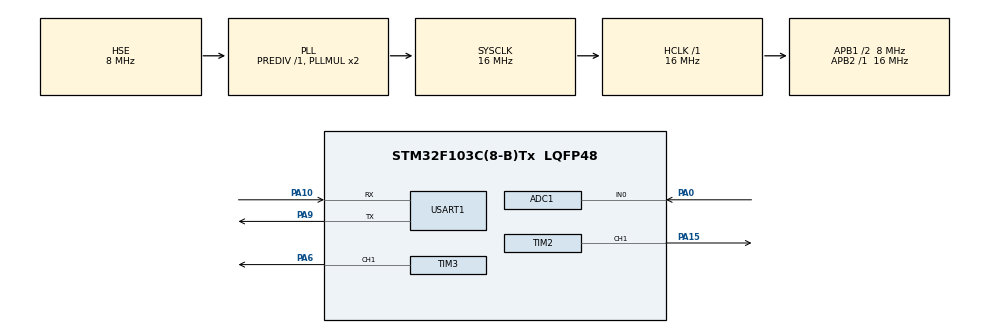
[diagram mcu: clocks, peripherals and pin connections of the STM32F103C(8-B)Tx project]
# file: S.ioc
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ADC1.Channel-0\#ChannelRegularConversion=ADC_CHANNEL_0
ADC1.ContinuousConvMode=ENABLE
ADC1.NbrOfConversion=1
ADC1.NbrOfConversionFlag=1
ADC1.Rank-0\#ChannelRegularConversion=1
ADC1.SamplingTime-0\#ChannelRegularConversion=ADC_SAMPLETIME_1CYCLE_5
ADC1.master=1
Dma.ADC1.0.Direction=DMA_PERIPH_TO_MEMORY
Dma.ADC1.0.Instance=DMA1_Channel1
Dma.ADC1.0.MemDataAlignment=DMA_MDATAALIGN_HALFWORD
Dma.ADC1.0.MemInc=DMA_MINC_ENABLE
Dma.ADC1.0.Mode=DMA_CIRCULAR
Dma.ADC1.0.PeriphDataAlignment=DMA_PDATAALIGN_HALFWORD
Dma.ADC1.0.PeriphInc=DMA_PINC_DISABLE
Dma.ADC1.0.Priority=DMA_PRIORITY_HIGH
Dma.Request0=ADC1
Mcu.Family=STM32F1
Mcu.Name=STM32F103C(8-B)Tx
Mcu.Package=LQFP48
NVIC.ADC1_2_IRQn=true\:0\:0\:false\:false\:true\:true\:true\:true
NVIC.DMA1_Channel1_IRQn=true\:0\:0\:false\:false\:true\:false\:true\:true
NVIC.PriorityGroup=NVIC_PRIORITYGROUP_4
NVIC.TIM2_IRQn=true\:0\:0\:false\:false\:true\:true\:true\:true
PA0-WKUP.Signal=ADCx_IN0
PA10.Mode=Asynchronous
PA10.Signal=USART1_RX
PA15.Signal=S_TIM2_CH1_ETR
PA6.Signal=S_TIM3_CH1
PA9.Mode=Asynchronous
PA9.Signal=USART1_TX
PD0-OSC_IN.Mode=HSE-External-Oscillator
PD0-OSC_IN.Signal=RCC_OSC_IN
PD1-OSC_OUT.Mode=HSE-External-Oscillator
PD1-OSC_OUT.Signal=RCC_OSC_OUT
ProjectManager.HeapSize=0x200
ProjectManager.StackSize=0x400
ProjectManager.TargetToolchain=STM32CubeIDE
RCC.AHBFreq_Value=16000000
RCC.APB1CLKDivider=RCC_HCLK_DIV2
RCC.APB1Freq_Value=8000000
RCC.APB1TimFreq_Value=16000000
RCC.APB2Freq_Value=16000000
RCC.APB2TimFreq_Value=16000000
RCC.HCLKFreq_Value=16000000
RCC.PLLSourceVirtual=RCC_PLLSOURCE_HSE
RCC.SYSCLKFreq_VALUE=16000000
RCC.SYSCLKSource=RCC_SYSCLKSOURCE_PLLCLK
RCC.USBFreq_Value=16000000
SH.ADCx_IN0.0=ADC1_IN0,IN0
SH.S_TIM2_CH1_ETR.0=TIM2_CH1,PWM Generation1 CH1
SH.S_TIM3_CH1.0=TIM3_CH1,PWM Generation1 CH1
TIM2.Channel-PWM\ Generation1\ CH1=TIM_CHANNEL_1
TIM2.Period=999
TIM2.Prescaler=71
TIM2.Pulse-PWM\ Generation1\ CH1=400
TIM3.AutoReloadPreload=TIM_AUTORELOAD_PRELOAD_ENABLE
TIM3.Channel-PWM\ Generation1\ CH1=TIM_CHANNEL_1
TIM3.Period=19999
TIM3.Prescaler=15
TIM3.TIM_MasterSlaveMode=TIM_MASTERSLAVEMODE_DISABLE
USART1.VirtualMode=VM_ASYNC
VP_SYS_VS_ND.Mode=No_Debug
VP_TIM2_VS_ClockSourceINT.Mode=Internal
VP_TIM3_VS_ClockSourceINT.Mode=Internal
board=custom

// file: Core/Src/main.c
/* USER CODE BEGIN Header */
/**
  ******************************************************************************
  * @file           : main.c
  * @brief          : Main program body
  ******************************************************************************
  * @attention
  *
  * Copyright (c) 2026 STMicroelectronics.
  * All rights reserved.
  *
  * This software is licensed under terms that can be found in the LICENSE file
  * in the root directory of this software component.
  * If no LICENSE file comes with this software, it is provided AS-IS.
  *
  ******************************************************************************
  */
/* USER CODE END Header */
#include "main.h"

/* USER CODE BEGIN Includes */
#include <string.h>
#include <stdio.h>
/* USER CODE END Includes */

ADC_HandleTypeDef hadc1;
DMA_HandleTypeDef hdma_adc1;

TIM_HandleTypeDef htim2;
TIM_HandleTypeDef htim3;

UART_HandleTypeDef huart1;

/* USER CODE BEGIN PV */
#define BUF_SIZE 64
uint16_t adc_buf[BUF_SIZE];
volatile uint8_t process_lower = 0;
volatile uint8_t process_upper = 0;
/* USER CODE END PV */

void SystemClock_Config(void);
static void MX_GPIO_Init(void);
static void MX_DMA_Init(void);
static void MX_USART1_UART_Init(void);
static void MX_TIM2_Init(void);
static void MX_TIM3_Init(void);
static void MX_ADC1_Init(void);

int main(void)
{

  /* MCU Configuration--------------------------------------------------------*/

  /* Reset of all peripherals, Initializes the Flash interface and the Systick. */
  HAL_Init();

  /* Configure the system clock */
  SystemClock_Config();

  /* Initialize all configured peripherals */
  MX_GPIO_Init();
  MX_DMA_Init();
  MX_USART1_UART_Init();
  MX_TIM2_Init();
  MX_TIM3_Init();
  MX_ADC1_Init();
  /* USER CODE BEGIN 2 */
  HAL_ADC_Start_DMA(&hadc1, (uint32_t*)adc_buf, BUF_SIZE);
  HAL_TIM_PWM_Start(&htim3, TIM_CHANNEL_1);

  /* USER CODE END 2 */

  /* Infinite loop */
  while (1)
  {

    /* USER CODE BEGIN 3 */
	   if (process_lower) {
	        process_lower = 0;
	        uint32_t sum = 0;
	        for (int i = 0; i < BUF_SIZE/2; i++) sum += adc_buf[i];
	        uint32_t avg = sum / (BUF_SIZE/2);
	        __HAL_TIM_SET_COMPARE(&htim3, TIM_CHANNEL_1, (avg * 1000 / 4095) + 1000);
	    }
	    if (process_upper) {
	        process_upper = 0;
	        uint32_t sum = 0;
	        for (int i = BUF_SIZE/2; i < BUF_SIZE; i++) sum += adc_buf[i];
	        uint32_t avg = sum / (BUF_SIZE/2);
	        __HAL_TIM_SET_COMPARE(&htim3, TIM_CHANNEL_1, (avg * 1000 / 4095) + 1000);
	    }

  }
  /* USER CODE END 3 */
}

void SystemClock_Config(void)
{
  RCC_OscInitTypeDef RCC_OscInitStruct = {0};
  RCC_ClkInitTypeDef RCC_ClkInitStruct = {0};
  RCC_PeriphCLKInitTypeDef PeriphClkInit = {0};

  /** Initializes the RCC Oscillators according to the specified parameters
  * in the RCC_OscInitTypeDef structure.
  */
  RCC_OscInitStruct.OscillatorType = RCC_OSCILLATORTYPE_HSE;
  RCC_OscInitStruct.HSEState = RCC_HSE_ON;
  RCC_OscInitStruct.HSEPredivValue = RCC_HSE_PREDIV_DIV1;
  RCC_OscInitStruct.HSIState = RCC_HSI_ON;
  RCC_OscInitStruct.PLL.PLLState = RCC_PLL_ON;
  RCC_OscInitStruct.PLL.PLLSource = RCC_PLLSOURCE_HSE;
  RCC_OscInitStruct.PLL.PLLMUL = RCC_PLL_MUL2;
  if (HAL_RCC_OscConfig(&RCC_OscInitStruct) != HAL_OK)
  {
    Error_Handler();
  }

  /** Initializes the CPU, AHB and APB buses clocks
  */
  RCC_ClkInitStruct.ClockType = RCC_CLOCKTYPE_HCLK|RCC_CLOCKTYPE_SYSCLK
                              |RCC_CLOCKTYPE_PCLK1|RCC_CLOCKTYPE_PCLK2;
  RCC_ClkInitStruct.SYSCLKSource = RCC_SYSCLKSOURCE_PLLCLK;
  RCC_ClkInitStruct.AHBCLKDivider = RCC_SYSCLK_DIV1;
  RCC_ClkInitStruct.APB1CLKDivider = RCC_HCLK_DIV2;
  RCC_ClkInitStruct.APB2CLKDivider = RCC_HCLK_DIV1;

  if (HAL_RCC_ClockConfig(&RCC_ClkInitStruct, FLASH_LATENCY_0) != HAL_OK)
  {
    Error_Handler();
  }
  PeriphClkInit.PeriphClockSelection = RCC_PERIPHCLK_ADC;
  PeriphClkInit.AdcClockSelection = RCC_ADCPCLK2_DIV2;
  if (HAL_RCCEx_PeriphCLKConfig(&PeriphClkInit) != HAL_OK)
  {
    Error_Handler();
  }
}

static void MX_ADC1_Init(void)
{

  ADC_ChannelConfTypeDef sConfig = {0};

  /** Common config
  */
  hadc1.Instance = ADC1;
  hadc1.Init.ScanConvMode = ADC_SCAN_DISABLE;
  hadc1.Init.ContinuousConvMode = ENABLE;
  hadc1.Init.DiscontinuousConvMode = DISABLE;
  hadc1.Init.ExternalTrigConv = ADC_SOFTWARE_START;
  hadc1.Init.DataAlign = ADC_DATAALIGN_RIGHT;
  hadc1.Init.NbrOfConversion = 1;
  if (HAL_ADC_Init(&hadc1) != HAL_OK)
  {
    Error_Handler();
  }

  /** Configure Regular Channel
  */
  sConfig.Channel = ADC_CHANNEL_0;
  sConfig.Rank = ADC_REGULAR_RANK_1;
  sConfig.SamplingTime = ADC_SAMPLETIME_1CYCLE_5;
  if (HAL_ADC_ConfigChannel(&hadc1, &sConfig) != HAL_OK)
  {
    Error_Handler();
  }

}

static void MX_TIM2_Init(void)
{

  TIM_ClockConfigTypeDef sClockSourceConfig = {0};
  TIM_MasterConfigTypeDef sMasterConfig = {0};
  TIM_OC_InitTypeDef sConfigOC = {0};

  htim2.Instance = TIM2;
  htim2.Init.Prescaler = 71;
  htim2.Init.CounterMode = TIM_COUNTERMODE_UP;
  htim2.Init.Period = 999;
  htim2.Init.ClockDivision = TIM_CLOCKDIVISION_DIV1;
  htim2.Init.AutoReloadPreload = TIM_AUTORELOAD_PRELOAD_DISABLE;
  if (HAL_TIM_Base_Init(&htim2) != HAL_OK)
  {
    Error_Handler();
  }
  sClockSourceConfig.ClockSource = TIM_CLOCKSOURCE_INTERNAL;
  if (HAL_TIM_ConfigClockSource(&htim2, &sClockSourceConfig) != HAL_OK)
  {
    Error_Handler();
  }
  if (HAL_TIM_PWM_Init(&htim2) != HAL_OK)
  {
    Error_Handler();
  }
  sMasterConfig.MasterOutputTrigger = TIM_TRGO_RESET;
  sMasterConfig.MasterSlaveMode = TIM_MASTERSLAVEMODE_DISABLE;
  if (HAL_TIMEx_MasterConfigSynchronization(&htim2, &sMasterConfig) != HAL_OK)
  {
    Error_Handler();
  }
  sConfigOC.OCMode = TIM_OCMODE_PWM1;
  sConfigOC.Pulse = 400;
  sConfigOC.OCPolarity = TIM_OCPOLARITY_HIGH;
  sConfigOC.OCFastMode = TIM_OCFAST_DISABLE;
  if (HAL_TIM_PWM_ConfigChannel(&htim2, &sConfigOC, TIM_CHANNEL_1) != HAL_OK)
  {
    Error_Handler();
  }
  HAL_TIM_MspPostInit(&htim2);

}

static void MX_TIM3_Init(void)
{

  TIM_ClockConfigTypeDef sClockSourceConfig = {0};
  TIM_MasterConfigTypeDef sMasterConfig = {0};
  TIM_OC_InitTypeDef sConfigOC = {0};

  htim3.Instance = TIM3;
  htim3.Init.Prescaler = 15;
  htim3.Init.CounterMode = TIM_COUNTERMODE_UP;
  htim3.Init.Period = 19999;
  htim3.Init.ClockDivision = TIM_CLOCKDIVISION_DIV1;
  htim3.Init.AutoReloadPreload = TIM_AUTORELOAD_PRELOAD_ENABLE;
  if (HAL_TIM_Base_Init(&htim3) != HAL_OK)
  {
    Error_Handler();
  }
  sClockSourceConfig.ClockSource = TIM_CLOCKSOURCE_INTERNAL;
  if (HAL_TIM_ConfigClockSource(&htim3, &sClockSourceConfig) != HAL_OK)
  {
    Error_Handler();
  }
  if (HAL_TIM_PWM_Init(&htim3) != HAL_OK)
  {
    Error_Handler();
  }
  sMasterConfig.MasterOutputTrigger = TIM_TRGO_RESET;
  sMasterConfig.MasterSlaveMode = TIM_MASTERSLAVEMODE_DISABLE;
  if (HAL_TIMEx_MasterConfigSynchronization(&htim3, &sMasterConfig) != HAL_OK)
  {
    Error_Handler();
  }
  sConfigOC.OCMode = TIM_OCMODE_PWM1;
  sConfigOC.Pulse = 0;
  sConfigOC.OCPolarity = TIM_OCPOLARITY_HIGH;
  sConfigOC.OCFastMode = TIM_OCFAST_DISABLE;
  if (HAL_TIM_PWM_ConfigChannel(&htim3, &sConfigOC, TIM_CHANNEL_1) != HAL_OK)
  {
    Error_Handler();
  }
  HAL_TIM_MspPostInit(&htim3);

}

static void MX_USART1_UART_Init(void)
{

  huart1.Instance = USART1;
  huart1.Init.BaudRate = 115200;
  huart1.Init.WordLength = UART_WORDLENGTH_8B;
  huart1.Init.StopBits = UART_STOPBITS_1;
  huart1.Init.Parity = UART_PARITY_NONE;
  huart1.Init.Mode = UART_MODE_TX_RX;
  huart1.Init.HwFlowCtl = UART_HWCONTROL_NONE;
  huart1.Init.OverSampling = UART_OVERSAMPLING_16;
  if (HAL_UART_Init(&huart1) != HAL_OK)
  {
    Error_Handler();
  }

}

static void MX_DMA_Init(void)
{

  /* DMA controller clock enable */
  __HAL_RCC_DMA1_CLK_ENABLE();

  /* DMA interrupt init */
  /* DMA1_Channel1_IRQn interrupt configuration */
  HAL_NVIC_SetPriority(DMA1_Channel1_IRQn, 0, 0);
  HAL_NVIC_EnableIRQ(DMA1_Channel1_IRQn);

}

static void MX_GPIO_Init(void)
{

  /* GPIO Ports Clock Enable */
  __HAL_RCC_GPIOD_CLK_ENABLE();
  __HAL_RCC_GPIOA_CLK_ENABLE();

}

/* USER CODE BEGIN 4 */
void HAL_ADC_ConvHalfCpltCallback(ADC_HandleTypeDef *hadc) {
    if (hadc->Instance == ADC1) process_lower = 1;
}
void HAL_ADC_ConvCpltCallback(ADC_HandleTypeDef *hadc) {
    if (hadc->Instance == ADC1) process_upper = 1;
}

/* USER CODE END 4 */

void Error_Handler(void)
{
  __disable_irq();
  while (1) {}
}
